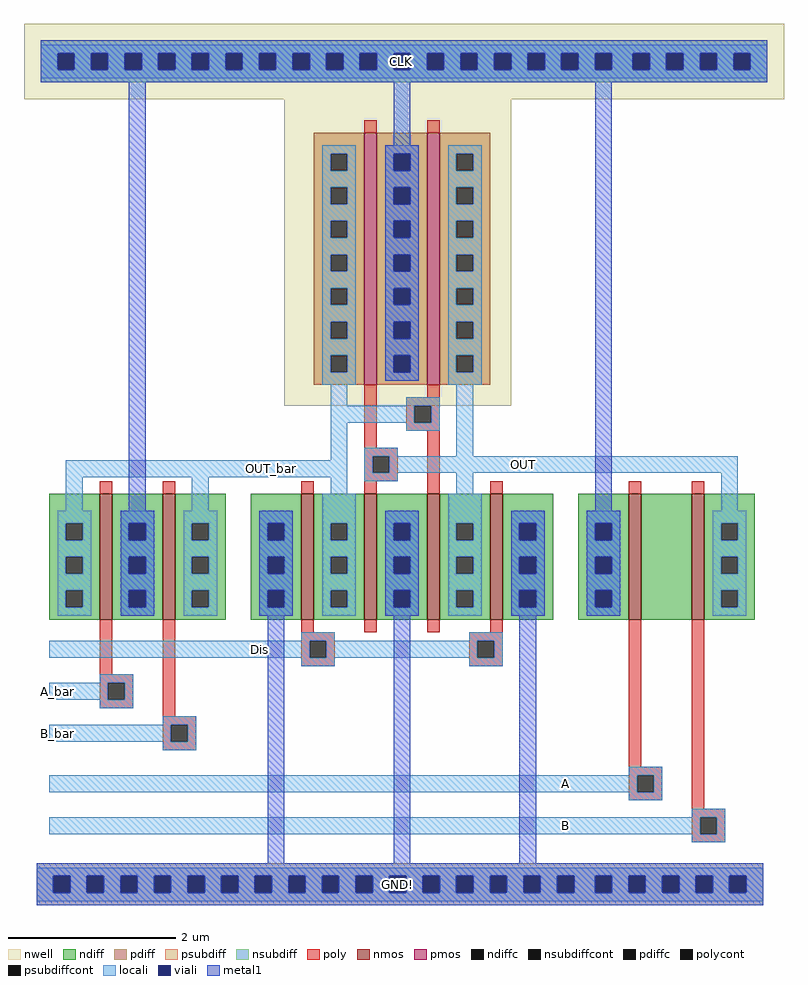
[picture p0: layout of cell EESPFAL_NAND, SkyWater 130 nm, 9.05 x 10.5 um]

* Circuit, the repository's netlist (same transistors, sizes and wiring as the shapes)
* NGSPICE file created from EESPFAL_NAND.ext - technology: sky130A

.subckt EESPFAL_NAND A A_bar B B_bar OUT OUT_bar Dis GND CLK
X0 CLK A_bar OUT_bar GND sky130_fd_pr__nfet_01v8 ad=6.125e+12p pd=2.67e+07u as=2.7e+12p ps=1.26e+07u w=1.5e+06u l=150000u
X1 OUT_bar Dis GND GND sky130_fd_pr__nfet_01v8 ad=0p pd=0u as=2.7e+12p ps=1.26e+07u w=1.5e+06u l=150000u
X2 OUT OUT_bar CLK CLK sky130_fd_pr__pfet_01v8 ad=1.8e+12p pd=7.2e+06u as=1.8e+12p ps=7.2e+06u w=3e+06u l=150000u
X3 CLK OUT OUT_bar CLK sky130_fd_pr__pfet_01v8 ad=0p pd=0u as=1.8e+12p ps=7.2e+06u w=3e+06u l=150000u
X4 a_n690_580# A CLK GND sky130_fd_pr__nfet_01v8 ad=9e+11p pd=4.2e+06u as=0p ps=0u w=1.5e+06u l=150000u
X5 GND Dis OUT GND sky130_fd_pr__nfet_01v8 ad=0p pd=0u as=1.8e+12p ps=8.4e+06u w=1.5e+06u l=150000u
X6 OUT B a_n690_580# GND sky130_fd_pr__nfet_01v8 ad=0p pd=0u as=0p ps=0u w=1.5e+06u l=150000u
X7 GND OUT OUT_bar GND sky130_fd_pr__nfet_01v8 ad=0p pd=0u as=0p ps=0u w=1.5e+06u l=150000u
X8 OUT_bar B_bar CLK GND sky130_fd_pr__nfet_01v8 ad=0p pd=0u as=0p ps=0u w=1.5e+06u l=150000u
X9 OUT OUT_bar GND GND sky130_fd_pr__nfet_01v8 ad=0p pd=0u as=0p ps=0u w=1.5e+06u l=150000u
.ends

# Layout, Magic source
magic
tech sky130A
<< nwell >>
rect -1080 910 -175 1000
rect -770 545 -500 910
<< nmos >>
rect -990 290 -975 440
rect -915 290 -900 440
rect -750 290 -735 440
rect -675 290 -660 440
rect -600 290 -585 440
rect -525 290 -510 440
rect -360 290 -345 440
rect -285 290 -270 440
<< pmos >>
rect -675 570 -660 870
rect -600 570 -585 870
<< ndiff >>
rect -1050 405 -990 440
rect -1050 385 -1030 405
rect -1010 385 -990 405
rect -1050 365 -990 385
rect -1050 345 -1030 365
rect -1010 345 -990 365
rect -1050 325 -990 345
rect -1050 305 -1030 325
rect -1010 305 -990 325
rect -1050 290 -990 305
rect -975 405 -915 440
rect -975 385 -955 405
rect -935 385 -915 405
rect -975 365 -915 385
rect -975 345 -955 365
rect -935 345 -915 365
rect -975 325 -915 345
rect -975 305 -955 325
rect -935 305 -915 325
rect -975 290 -915 305
rect -900 405 -840 440
rect -900 385 -880 405
rect -860 385 -840 405
rect -900 365 -840 385
rect -900 345 -880 365
rect -860 345 -840 365
rect -900 325 -840 345
rect -900 305 -880 325
rect -860 305 -840 325
rect -900 290 -840 305
rect -810 405 -750 440
rect -810 385 -790 405
rect -770 385 -750 405
rect -810 365 -750 385
rect -810 345 -790 365
rect -770 345 -750 365
rect -810 325 -750 345
rect -810 305 -790 325
rect -770 305 -750 325
rect -810 290 -750 305
rect -735 405 -675 440
rect -735 385 -715 405
rect -695 385 -675 405
rect -735 365 -675 385
rect -735 345 -715 365
rect -695 345 -675 365
rect -735 325 -675 345
rect -735 305 -715 325
rect -695 305 -675 325
rect -735 290 -675 305
rect -660 405 -600 440
rect -660 385 -640 405
rect -620 385 -600 405
rect -660 365 -600 385
rect -660 345 -640 365
rect -620 345 -600 365
rect -660 325 -600 345
rect -660 305 -640 325
rect -620 305 -600 325
rect -660 290 -600 305
rect -585 405 -525 440
rect -585 385 -565 405
rect -545 385 -525 405
rect -585 365 -525 385
rect -585 345 -565 365
rect -545 345 -525 365
rect -585 325 -525 345
rect -585 305 -565 325
rect -545 305 -525 325
rect -585 290 -525 305
rect -510 405 -450 440
rect -510 385 -490 405
rect -470 385 -450 405
rect -510 365 -450 385
rect -510 345 -490 365
rect -470 345 -450 365
rect -510 325 -450 345
rect -510 305 -490 325
rect -470 305 -450 325
rect -510 290 -450 305
rect -420 405 -360 440
rect -420 385 -400 405
rect -380 385 -360 405
rect -420 365 -360 385
rect -420 345 -400 365
rect -380 345 -360 365
rect -420 325 -360 345
rect -420 305 -400 325
rect -380 305 -360 325
rect -420 290 -360 305
rect -345 290 -285 440
rect -270 405 -210 440
rect -270 385 -250 405
rect -230 385 -210 405
rect -270 365 -210 385
rect -270 345 -250 365
rect -230 345 -210 365
rect -270 325 -210 345
rect -270 305 -250 325
rect -230 305 -210 325
rect -270 290 -210 305
<< pdiff >>
rect -735 845 -675 870
rect -735 825 -715 845
rect -695 825 -675 845
rect -735 805 -675 825
rect -735 785 -715 805
rect -695 785 -675 805
rect -735 765 -675 785
rect -735 745 -715 765
rect -695 745 -675 765
rect -735 725 -675 745
rect -735 705 -715 725
rect -695 705 -675 725
rect -735 685 -675 705
rect -735 665 -715 685
rect -695 665 -675 685
rect -735 645 -675 665
rect -735 625 -715 645
rect -695 625 -675 645
rect -735 605 -675 625
rect -735 585 -715 605
rect -695 585 -675 605
rect -735 570 -675 585
rect -660 845 -600 870
rect -660 825 -640 845
rect -620 825 -600 845
rect -660 805 -600 825
rect -660 785 -640 805
rect -620 785 -600 805
rect -660 765 -600 785
rect -660 745 -640 765
rect -620 745 -600 765
rect -660 725 -600 745
rect -660 705 -640 725
rect -620 705 -600 725
rect -660 685 -600 705
rect -660 665 -640 685
rect -620 665 -600 685
rect -660 645 -600 665
rect -660 625 -640 645
rect -620 625 -600 645
rect -660 605 -600 625
rect -660 585 -640 605
rect -620 585 -600 605
rect -660 570 -600 585
rect -585 845 -525 870
rect -585 825 -565 845
rect -545 825 -525 845
rect -585 805 -525 825
rect -585 785 -565 805
rect -545 785 -525 805
rect -585 765 -525 785
rect -585 745 -565 765
rect -545 745 -525 765
rect -585 725 -525 745
rect -585 705 -565 725
rect -545 705 -525 725
rect -585 685 -525 705
rect -585 665 -565 685
rect -545 665 -525 685
rect -585 645 -525 665
rect -585 625 -565 645
rect -545 625 -525 645
rect -585 605 -525 625
rect -585 585 -565 605
rect -545 585 -525 605
rect -585 570 -525 585
<< ndiffc >>
rect -1030 385 -1010 405
rect -1030 345 -1010 365
rect -1030 305 -1010 325
rect -955 385 -935 405
rect -955 345 -935 365
rect -955 305 -935 325
rect -880 385 -860 405
rect -880 345 -860 365
rect -880 305 -860 325
rect -790 385 -770 405
rect -790 345 -770 365
rect -790 305 -770 325
rect -715 385 -695 405
rect -715 345 -695 365
rect -715 305 -695 325
rect -640 385 -620 405
rect -640 345 -620 365
rect -640 305 -620 325
rect -565 385 -545 405
rect -565 345 -545 365
rect -565 305 -545 325
rect -490 385 -470 405
rect -490 345 -470 365
rect -490 305 -470 325
rect -400 385 -380 405
rect -400 345 -380 365
rect -400 305 -380 325
rect -250 385 -230 405
rect -250 345 -230 365
rect -250 305 -230 325
<< pdiffc >>
rect -715 825 -695 845
rect -715 785 -695 805
rect -715 745 -695 765
rect -715 705 -695 725
rect -715 665 -695 685
rect -715 625 -695 645
rect -715 585 -695 605
rect -640 825 -620 845
rect -640 785 -620 805
rect -640 745 -620 765
rect -640 705 -620 725
rect -640 665 -620 685
rect -640 625 -620 645
rect -640 585 -620 605
rect -565 825 -545 845
rect -565 785 -545 805
rect -565 745 -545 765
rect -565 705 -545 725
rect -565 665 -545 685
rect -565 625 -545 645
rect -565 585 -545 605
<< psubdiff >>
rect -1065 -15 -200 0
rect -1065 -35 -1045 -15
rect -1025 -35 -1005 -15
rect -985 -35 -965 -15
rect -945 -35 -925 -15
rect -905 -35 -885 -15
rect -865 -35 -845 -15
rect -825 -35 -805 -15
rect -785 -35 -765 -15
rect -745 -35 -725 -15
rect -705 -35 -685 -15
rect -665 -35 -645 -15
rect -625 -35 -605 -15
rect -585 -35 -565 -15
rect -545 -35 -525 -15
rect -505 -35 -485 -15
rect -465 -35 -445 -15
rect -425 -35 -400 -15
rect -380 -35 -360 -15
rect -340 -35 -320 -15
rect -300 -35 -280 -15
rect -260 -35 -240 -15
rect -220 -35 -200 -15
rect -1065 -50 -200 -35
<< nsubdiff >>
rect -1060 965 -195 980
rect -1060 945 -1040 965
rect -1020 945 -1000 965
rect -980 945 -960 965
rect -940 945 -920 965
rect -900 945 -880 965
rect -860 945 -840 965
rect -820 945 -800 965
rect -780 945 -760 965
rect -740 945 -720 965
rect -700 945 -680 965
rect -660 945 -640 965
rect -620 945 -600 965
rect -580 945 -560 965
rect -540 945 -520 965
rect -500 945 -480 965
rect -460 945 -440 965
rect -420 945 -400 965
rect -380 945 -355 965
rect -335 945 -315 965
rect -295 945 -275 965
rect -255 945 -235 965
rect -215 945 -195 965
rect -1060 930 -195 945
<< psubdiffcont >>
rect -1045 -35 -1025 -15
rect -1005 -35 -985 -15
rect -965 -35 -945 -15
rect -925 -35 -905 -15
rect -885 -35 -865 -15
rect -845 -35 -825 -15
rect -805 -35 -785 -15
rect -765 -35 -745 -15
rect -725 -35 -705 -15
rect -685 -35 -665 -15
rect -645 -35 -625 -15
rect -605 -35 -585 -15
rect -565 -35 -545 -15
rect -525 -35 -505 -15
rect -485 -35 -465 -15
rect -445 -35 -425 -15
rect -400 -35 -380 -15
rect -360 -35 -340 -15
rect -320 -35 -300 -15
rect -280 -35 -260 -15
rect -240 -35 -220 -15
<< nsubdiffcont >>
rect -1040 945 -1020 965
rect -1000 945 -980 965
rect -960 945 -940 965
rect -920 945 -900 965
rect -880 945 -860 965
rect -840 945 -820 965
rect -800 945 -780 965
rect -760 945 -740 965
rect -720 945 -700 965
rect -680 945 -660 965
rect -640 945 -620 965
rect -600 945 -580 965
rect -560 945 -540 965
rect -520 945 -500 965
rect -480 945 -460 965
rect -440 945 -420 965
rect -400 945 -380 965
rect -355 945 -335 965
rect -315 945 -295 965
rect -275 945 -255 965
rect -235 945 -215 965
<< poly >>
rect -675 870 -660 885
rect -600 870 -585 885
rect -675 495 -660 570
rect -600 555 -585 570
rect -625 545 -585 555
rect -625 525 -615 545
rect -595 525 -585 545
rect -625 515 -585 525
rect -675 485 -635 495
rect -675 465 -665 485
rect -645 465 -635 485
rect -675 455 -635 465
rect -990 440 -975 455
rect -915 440 -900 455
rect -750 440 -735 455
rect -675 440 -660 455
rect -600 440 -585 515
rect -525 440 -510 455
rect -360 440 -345 455
rect -285 440 -270 455
rect -990 225 -975 290
rect -990 215 -950 225
rect -990 195 -980 215
rect -960 195 -950 215
rect -990 185 -950 195
rect -915 175 -900 290
rect -750 275 -735 290
rect -675 275 -660 290
rect -600 275 -585 290
rect -525 275 -510 290
rect -750 265 -710 275
rect -750 245 -740 265
rect -720 245 -710 265
rect -750 235 -710 245
rect -550 265 -510 275
rect -550 245 -540 265
rect -520 245 -510 265
rect -550 235 -510 245
rect -915 165 -875 175
rect -915 145 -905 165
rect -885 145 -875 165
rect -915 135 -875 145
rect -360 115 -345 290
rect -360 105 -320 115
rect -360 85 -350 105
rect -330 85 -320 105
rect -360 75 -320 85
rect -285 65 -270 290
rect -285 55 -245 65
rect -285 35 -275 55
rect -255 35 -245 55
rect -285 25 -245 35
<< polycont >>
rect -615 525 -595 545
rect -665 465 -645 485
rect -980 195 -960 215
rect -740 245 -720 265
rect -540 245 -520 265
rect -905 145 -885 165
rect -350 85 -330 105
rect -275 35 -255 55
<< locali >>
rect -1060 965 -195 975
rect -1060 945 -1040 965
rect -1020 945 -1000 965
rect -980 945 -960 965
rect -940 945 -920 965
rect -900 945 -880 965
rect -860 945 -840 965
rect -820 945 -800 965
rect -780 945 -760 965
rect -740 945 -720 965
rect -700 945 -680 965
rect -660 945 -640 965
rect -620 945 -600 965
rect -580 945 -560 965
rect -540 945 -520 965
rect -500 945 -480 965
rect -460 945 -440 965
rect -420 945 -400 965
rect -380 945 -355 965
rect -335 945 -315 965
rect -295 945 -275 965
rect -255 945 -235 965
rect -215 945 -195 965
rect -1060 935 -195 945
rect -725 845 -685 855
rect -725 825 -715 845
rect -695 825 -685 845
rect -725 805 -685 825
rect -725 785 -715 805
rect -695 785 -685 805
rect -725 765 -685 785
rect -725 745 -715 765
rect -695 745 -685 765
rect -725 725 -685 745
rect -725 705 -715 725
rect -695 705 -685 725
rect -725 685 -685 705
rect -725 665 -715 685
rect -695 665 -685 685
rect -725 645 -685 665
rect -725 625 -715 645
rect -695 625 -685 645
rect -725 605 -685 625
rect -725 585 -715 605
rect -695 585 -685 605
rect -725 570 -685 585
rect -650 845 -610 855
rect -650 825 -640 845
rect -620 825 -610 845
rect -650 805 -610 825
rect -650 785 -640 805
rect -620 785 -610 805
rect -650 765 -610 785
rect -650 745 -640 765
rect -620 745 -610 765
rect -650 725 -610 745
rect -650 705 -640 725
rect -620 705 -610 725
rect -650 685 -610 705
rect -650 665 -640 685
rect -620 665 -610 685
rect -650 645 -610 665
rect -650 625 -640 645
rect -620 625 -610 645
rect -650 605 -610 625
rect -650 585 -640 605
rect -620 585 -610 605
rect -650 575 -610 585
rect -575 845 -535 855
rect -575 825 -565 845
rect -545 825 -535 845
rect -575 805 -535 825
rect -575 785 -565 805
rect -545 785 -535 805
rect -575 765 -535 785
rect -575 745 -565 765
rect -545 745 -535 765
rect -575 725 -535 745
rect -575 705 -565 725
rect -545 705 -535 725
rect -575 685 -535 705
rect -575 665 -565 685
rect -545 665 -535 685
rect -575 645 -535 665
rect -575 625 -565 645
rect -545 625 -535 645
rect -575 605 -535 625
rect -575 585 -565 605
rect -545 585 -535 605
rect -575 570 -535 585
rect -715 545 -695 570
rect -625 545 -585 555
rect -715 525 -615 545
rect -595 525 -585 545
rect -715 480 -695 525
rect -625 515 -585 525
rect -1030 460 -695 480
rect -1030 420 -1010 460
rect -880 420 -860 460
rect -715 440 -695 460
rect -675 485 -635 495
rect -565 485 -545 570
rect -675 465 -665 485
rect -645 465 -230 485
rect -675 455 -635 465
rect -565 440 -545 465
rect -1040 405 -1000 420
rect -1040 385 -1030 405
rect -1010 385 -1000 405
rect -1040 365 -1000 385
rect -1040 345 -1030 365
rect -1010 345 -1000 365
rect -1040 325 -1000 345
rect -1040 305 -1030 325
rect -1010 305 -1000 325
rect -1040 295 -1000 305
rect -965 405 -925 420
rect -965 385 -955 405
rect -935 385 -925 405
rect -965 365 -925 385
rect -965 345 -955 365
rect -935 345 -925 365
rect -965 325 -925 345
rect -965 305 -955 325
rect -935 305 -925 325
rect -965 295 -925 305
rect -890 405 -850 420
rect -890 385 -880 405
rect -860 385 -850 405
rect -890 365 -850 385
rect -890 345 -880 365
rect -860 345 -850 365
rect -890 325 -850 345
rect -890 305 -880 325
rect -860 305 -850 325
rect -890 295 -850 305
rect -800 405 -760 420
rect -800 385 -790 405
rect -770 385 -760 405
rect -800 365 -760 385
rect -800 345 -790 365
rect -770 345 -760 365
rect -800 325 -760 345
rect -800 305 -790 325
rect -770 305 -760 325
rect -800 295 -760 305
rect -725 405 -685 440
rect -725 385 -715 405
rect -695 385 -685 405
rect -725 365 -685 385
rect -725 345 -715 365
rect -695 345 -685 365
rect -725 325 -685 345
rect -725 305 -715 325
rect -695 305 -685 325
rect -725 295 -685 305
rect -650 405 -610 420
rect -650 385 -640 405
rect -620 385 -610 405
rect -650 365 -610 385
rect -650 345 -640 365
rect -620 345 -610 365
rect -650 325 -610 345
rect -650 305 -640 325
rect -620 305 -610 325
rect -650 295 -610 305
rect -575 405 -535 440
rect -250 420 -230 465
rect -575 385 -565 405
rect -545 385 -535 405
rect -575 365 -535 385
rect -575 345 -565 365
rect -545 345 -535 365
rect -575 325 -535 345
rect -575 305 -565 325
rect -545 305 -535 325
rect -575 295 -535 305
rect -500 405 -460 420
rect -500 385 -490 405
rect -470 385 -460 405
rect -500 365 -460 385
rect -500 345 -490 365
rect -470 345 -460 365
rect -500 325 -460 345
rect -500 305 -490 325
rect -470 305 -460 325
rect -500 295 -460 305
rect -410 405 -370 420
rect -410 385 -400 405
rect -380 385 -370 405
rect -410 365 -370 385
rect -410 345 -400 365
rect -380 345 -370 365
rect -410 325 -370 345
rect -410 305 -400 325
rect -380 305 -370 325
rect -410 295 -370 305
rect -260 405 -220 420
rect -260 385 -250 405
rect -230 385 -220 405
rect -260 365 -220 385
rect -260 345 -250 365
rect -230 345 -220 365
rect -260 325 -220 345
rect -260 305 -250 325
rect -230 305 -220 325
rect -260 295 -220 305
rect -750 265 -710 275
rect -550 265 -510 275
rect -1050 245 -740 265
rect -720 245 -540 265
rect -520 245 -510 265
rect -750 235 -710 245
rect -550 235 -510 245
rect -990 215 -950 225
rect -1050 195 -980 215
rect -960 195 -950 215
rect -990 185 -950 195
rect -915 165 -875 175
rect -1050 145 -905 165
rect -885 145 -875 165
rect -915 135 -875 145
rect -360 105 -320 115
rect -1050 85 -350 105
rect -330 85 -320 105
rect -360 75 -320 85
rect -285 55 -245 65
rect -1050 35 -275 55
rect -255 35 -245 55
rect -285 25 -245 35
rect -1065 -15 -200 -5
rect -1065 -35 -1045 -15
rect -1025 -35 -1005 -15
rect -985 -35 -965 -15
rect -945 -35 -925 -15
rect -905 -35 -885 -15
rect -865 -35 -845 -15
rect -825 -35 -805 -15
rect -785 -35 -765 -15
rect -745 -35 -725 -15
rect -705 -35 -685 -15
rect -665 -35 -645 -15
rect -625 -35 -605 -15
rect -585 -35 -565 -15
rect -545 -35 -525 -15
rect -505 -35 -485 -15
rect -465 -35 -445 -15
rect -425 -35 -400 -15
rect -380 -35 -360 -15
rect -340 -35 -320 -15
rect -300 -35 -280 -15
rect -260 -35 -240 -15
rect -220 -35 -200 -15
rect -1065 -45 -200 -35
<< viali >>
rect -1040 945 -1020 965
rect -1000 945 -980 965
rect -960 945 -940 965
rect -920 945 -900 965
rect -880 945 -860 965
rect -840 945 -820 965
rect -800 945 -780 965
rect -760 945 -740 965
rect -720 945 -700 965
rect -680 945 -660 965
rect -640 945 -620 965
rect -600 945 -580 965
rect -560 945 -540 965
rect -520 945 -500 965
rect -480 945 -460 965
rect -440 945 -420 965
rect -400 945 -380 965
rect -355 945 -335 965
rect -315 945 -295 965
rect -275 945 -255 965
rect -235 945 -215 965
rect -640 825 -620 845
rect -640 785 -620 805
rect -640 745 -620 765
rect -640 705 -620 725
rect -640 665 -620 685
rect -640 625 -620 645
rect -640 585 -620 605
rect -955 385 -935 405
rect -955 345 -935 365
rect -955 305 -935 325
rect -790 385 -770 405
rect -790 345 -770 365
rect -790 305 -770 325
rect -640 385 -620 405
rect -640 345 -620 365
rect -640 305 -620 325
rect -490 385 -470 405
rect -490 345 -470 365
rect -490 305 -470 325
rect -400 385 -380 405
rect -400 345 -380 365
rect -400 305 -380 325
rect -1045 -35 -1025 -15
rect -1005 -35 -985 -15
rect -965 -35 -945 -15
rect -925 -35 -905 -15
rect -885 -35 -865 -15
rect -845 -35 -825 -15
rect -805 -35 -785 -15
rect -765 -35 -745 -15
rect -725 -35 -705 -15
rect -685 -35 -665 -15
rect -645 -35 -625 -15
rect -605 -35 -585 -15
rect -565 -35 -545 -15
rect -525 -35 -505 -15
rect -485 -35 -465 -15
rect -445 -35 -425 -15
rect -400 -35 -380 -15
rect -360 -35 -340 -15
rect -320 -35 -300 -15
rect -280 -35 -260 -15
rect -240 -35 -220 -15
<< metal1 >>
rect -1060 965 -195 980
rect -1060 945 -1040 965
rect -1020 945 -1000 965
rect -980 945 -960 965
rect -940 945 -920 965
rect -900 945 -880 965
rect -860 945 -840 965
rect -820 945 -800 965
rect -780 945 -760 965
rect -740 945 -720 965
rect -700 945 -680 965
rect -660 945 -640 965
rect -620 945 -600 965
rect -580 945 -560 965
rect -540 945 -520 965
rect -500 945 -480 965
rect -460 945 -440 965
rect -420 945 -400 965
rect -380 945 -355 965
rect -335 945 -315 965
rect -295 945 -275 965
rect -255 945 -235 965
rect -215 945 -195 965
rect -1060 930 -195 945
rect -955 420 -935 930
rect -640 855 -620 930
rect -650 845 -610 855
rect -650 825 -640 845
rect -620 825 -610 845
rect -650 805 -610 825
rect -650 785 -640 805
rect -620 785 -610 805
rect -650 765 -610 785
rect -650 745 -640 765
rect -620 745 -610 765
rect -650 725 -610 745
rect -650 705 -640 725
rect -620 705 -610 725
rect -650 685 -610 705
rect -650 665 -640 685
rect -620 665 -610 685
rect -650 645 -610 665
rect -650 625 -640 645
rect -620 625 -610 645
rect -650 605 -610 625
rect -650 585 -640 605
rect -620 585 -610 605
rect -650 575 -610 585
rect -400 420 -380 930
rect -965 405 -925 420
rect -965 385 -955 405
rect -935 385 -925 405
rect -965 365 -925 385
rect -965 345 -955 365
rect -935 345 -925 365
rect -965 325 -925 345
rect -965 305 -955 325
rect -935 305 -925 325
rect -965 295 -925 305
rect -800 405 -760 420
rect -800 385 -790 405
rect -770 385 -760 405
rect -800 365 -760 385
rect -800 345 -790 365
rect -770 345 -760 365
rect -800 325 -760 345
rect -800 305 -790 325
rect -770 305 -760 325
rect -800 295 -760 305
rect -650 405 -610 420
rect -650 385 -640 405
rect -620 385 -610 405
rect -650 365 -610 385
rect -650 345 -640 365
rect -620 345 -610 365
rect -650 325 -610 345
rect -650 305 -640 325
rect -620 305 -610 325
rect -650 295 -610 305
rect -500 405 -460 420
rect -500 385 -490 405
rect -470 385 -460 405
rect -500 365 -460 385
rect -500 345 -490 365
rect -470 345 -460 365
rect -500 325 -460 345
rect -500 305 -490 325
rect -470 305 -460 325
rect -500 295 -460 305
rect -410 405 -370 420
rect -410 385 -400 405
rect -380 385 -370 405
rect -410 365 -370 385
rect -410 345 -400 365
rect -380 345 -370 365
rect -410 325 -370 345
rect -410 305 -400 325
rect -380 305 -370 325
rect -410 295 -370 305
rect -790 0 -770 295
rect -640 0 -620 295
rect -490 0 -470 295
rect -1065 -15 -200 0
rect -1065 -35 -1045 -15
rect -1025 -35 -1005 -15
rect -985 -35 -965 -15
rect -945 -35 -925 -15
rect -905 -35 -885 -15
rect -865 -35 -845 -15
rect -825 -35 -805 -15
rect -785 -35 -765 -15
rect -745 -35 -725 -15
rect -705 -35 -685 -15
rect -665 -35 -645 -15
rect -625 -35 -605 -15
rect -585 -35 -565 -15
rect -545 -35 -525 -15
rect -505 -35 -485 -15
rect -465 -35 -445 -15
rect -425 -35 -400 -15
rect -380 -35 -360 -15
rect -340 -35 -320 -15
rect -300 -35 -280 -15
rect -260 -35 -240 -15
rect -220 -35 -200 -15
rect -1065 -50 -200 -35
<< labels >>
rlabel locali -440 90 -430 100 7 A
port 1 w
rlabel locali -1045 200 -1035 210 7 A_bar
port 2 w
rlabel locali -440 40 -430 50 7 B
port 3 w
rlabel locali -1045 150 -1035 160 7 B_bar
port 4 w
rlabel locali -490 470 -480 480 3 OUT
port 5 e
rlabel locali -790 465 -780 475 7 OUT_bar
port 6 w
rlabel locali -805 250 -795 260 7 Dis
port 7 w
rlabel metal1 -640 945 -620 965 1 CLK
port 8 n
rlabel metal1 -645 -35 -625 -15 5 GND!
port 9 s
<< end >>
